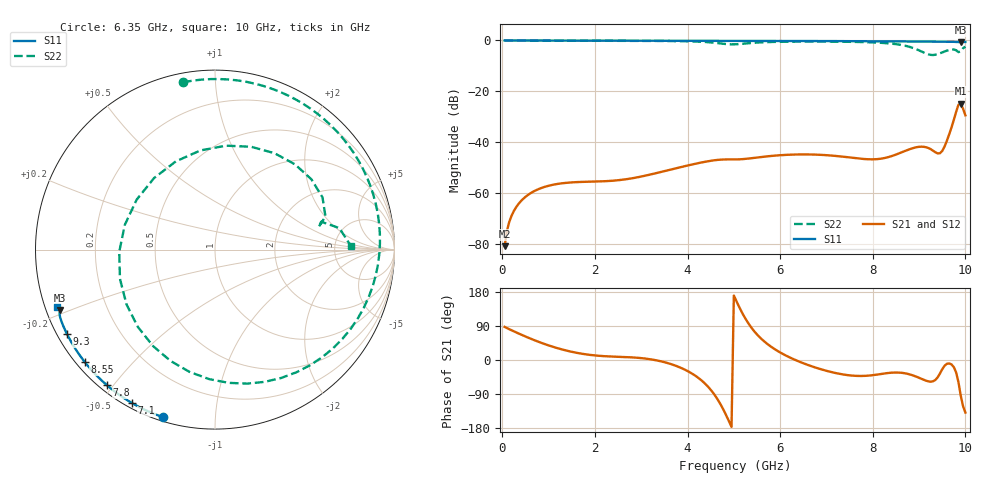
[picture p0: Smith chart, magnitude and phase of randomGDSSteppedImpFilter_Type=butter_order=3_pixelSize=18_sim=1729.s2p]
! freq	dB(S11)	phase(S11)	dB(S12)	phase(S12)
!  dB(S21)	phase(S21)	dB(S22)	phase(S22)
!S-par simulation data
#  GHz  S  DB  R 50
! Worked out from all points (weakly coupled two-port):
!   200 points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, 50 MHz to 10 GHz, reference 50 ohm
!   highest |S21| = -24.74 dB at 9.9 GHz (marker M1); lowest = -80.7 dB at 50 MHz (marker M2)
!   lowest |S11| = -0.7 dB at 9.9 GHz (marker M3), VSWR 25.99, Z = 1.99 - j9.43 ohm
!   |S11| at or under -10 dB: nowhere
!   |S22| runs from -5.7 to 0.0 dB; largest |S21 - S12| = 0
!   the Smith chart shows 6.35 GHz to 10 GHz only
!   S11 on the Smith chart (normalised r, x): 6.35 GHz: 0.02, -0.74; 7.1 GHz: 0.02, -0.60; 7.8 GHz: 0.02, -0.48; 8.55 GHz: 0.02, -0.37; 9.3 GHz: 0.03, -0.27; 10 GHz: 0.03, -0.18
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0.05  -0.00 -0.9  -80.71 87.4  -80.71 87.4  -0.00 -4.9
0.5  -0.01 -9.3  -61.36 62.0  -61.36 62.0  -0.06 -47.3
1.05  -0.02 -19.4  -56.79 36.5  -56.79 36.5  -0.10 -92.1
1.75  -0.04 -32.1  -55.47 15.9  -55.47 15.9  -0.13 -136.9
2.55  -0.06 -46.3  -54.74 8.3  -54.74 8.3  -0.15 -178.1
3.4  -0.08 -60.8  -51.71 -2.7  -51.71 -2.7  -0.20 139.2
4.2  -0.10 -74.1  -48.25 -44.2  -48.25 -44.2  -0.44 81.9
4.65  -0.12 -81.3  -46.86 -104.1  -46.86 -104.1  -1.04 14.1
4.85  -0.13 -84.4  -46.67 -149.8  -46.67 -149.8  -1.44 -36.9
5.05  -0.14 -87.6  -46.68 156.7  -46.68 156.7  -1.49 -95.0
5.45  -0.15 -93.8  -46.04 74.5  -46.04 74.5  -0.89 -178.3
6.35  -0.20 -107.4  -44.74 -1.1  -44.74 -1.1  -0.46 100.8
6.7  -0.22 -112.5  -44.75 -17.4  -44.75 -17.4  -0.44 79.3
7.1  -0.25 -118.4  -45.14 -31.7  -45.14 -31.7  -0.46 55.9
7.8  -0.30 -128.5  -46.49 -42.0  -46.49 -42.0  -0.64 12.5
8.35  -0.35 -136.4  -45.70 -34.1  -45.70 -34.1  -1.15 -30.2
8.55  -0.37 -139.3  -44.43 -33.1  -44.43 -33.1  -1.58 -50.7
8.95  -0.41 -145.1  -41.86 -44.5  -41.86 -44.5  -3.50 -111.7
9.3  -0.45 -150.2  -43.22 -56.3  -43.22 -56.3  -5.72 147.5
9.55  -0.49 -153.9  -41.62 -15.2  -41.62 -15.2  -4.33 70.6
9.9  -0.67 -158.6  -24.74 -94.2  -24.74 -94.2  -4.27 14.7
10  -0.58 -159.9  -29.37 -138.7  -29.37 -138.7  -2.42 1.7
